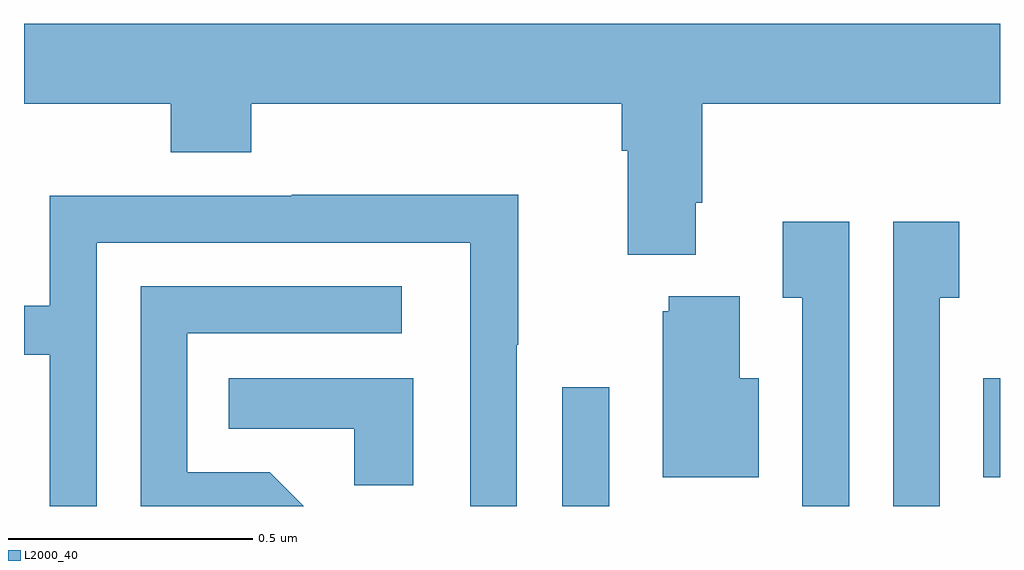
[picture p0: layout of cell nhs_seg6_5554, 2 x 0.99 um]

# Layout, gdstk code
import gdstk
lib = gdstk.Library(unit=1e-6, precision=1e-09)
def R(c, l, rs):  # rectangles x0, y0, x1, y1
    for r in rs: c.add(gdstk.rectangle(r[:2], r[2:], *l))
def P(c, l, *ps):  # polygons
    for p in ps: c.add(gdstk.Polygon(p, *l))
L2000_40 = (2000, 40)

nhs_seg6_5554 = lib.new_cell('nhs_seg6_5554')
R(nhs_seg6_5554, L2000_40, [(185.103,958.5,185.199,958.744), (185.966,958.559,186,958.762)])
P(nhs_seg6_5554, L2000_40, [(185.377,959.122),(185.39,959.122),(185.39,959.324),(186,959.324),(186,959.488),(184,959.488),(184,959.324),(184.301,959.324),(184.301,959.225),(184.466,959.225),(184.466,959.324),(185.225,959.324),(185.225,959.228),(185.237,959.228),(185.237,959.015),(185.377,959.015)],
  [(184.149,959.04),(184.914,959.04),(184.914,958.5),(185.01,958.5),(185.01,958.831),(185.013,958.831),(185.013,959.138),(184.549,959.138),(184.549,959.136),(184.053,959.136),(184.053,958.911),(184,958.911),(184,958.81),(184.053,958.81),(184.053,958.5),(184.149,958.5)],
  [(185.877,958.927),(185.917,958.927),(185.917,959.083),(185.781,959.083),(185.781,958.5),(185.877,958.5)],
  [(185.691,959.083),(185.555,959.083),(185.555,958.927),(185.595,958.927),(185.595,958.5),(185.691,958.5)],
  [(184.504,958.569),(184.335,958.569),(184.335,958.854),(184.774,958.854),(184.774,958.95),(184.239,958.95),(184.239,958.5),(184.573,958.5)],
  [(185.506,958.762),(185.467,958.762),(185.467,958.93),(185.321,958.93),(185.321,958.899),(185.309,958.899),(185.309,958.559),(185.506,958.559)],
  [(184.798,958.762),(184.42,958.762),(184.42,958.658),(184.677,958.658),(184.677,958.543),(184.798,958.543)])

lib.write_gds('nhs_seg6_5554.gds')
